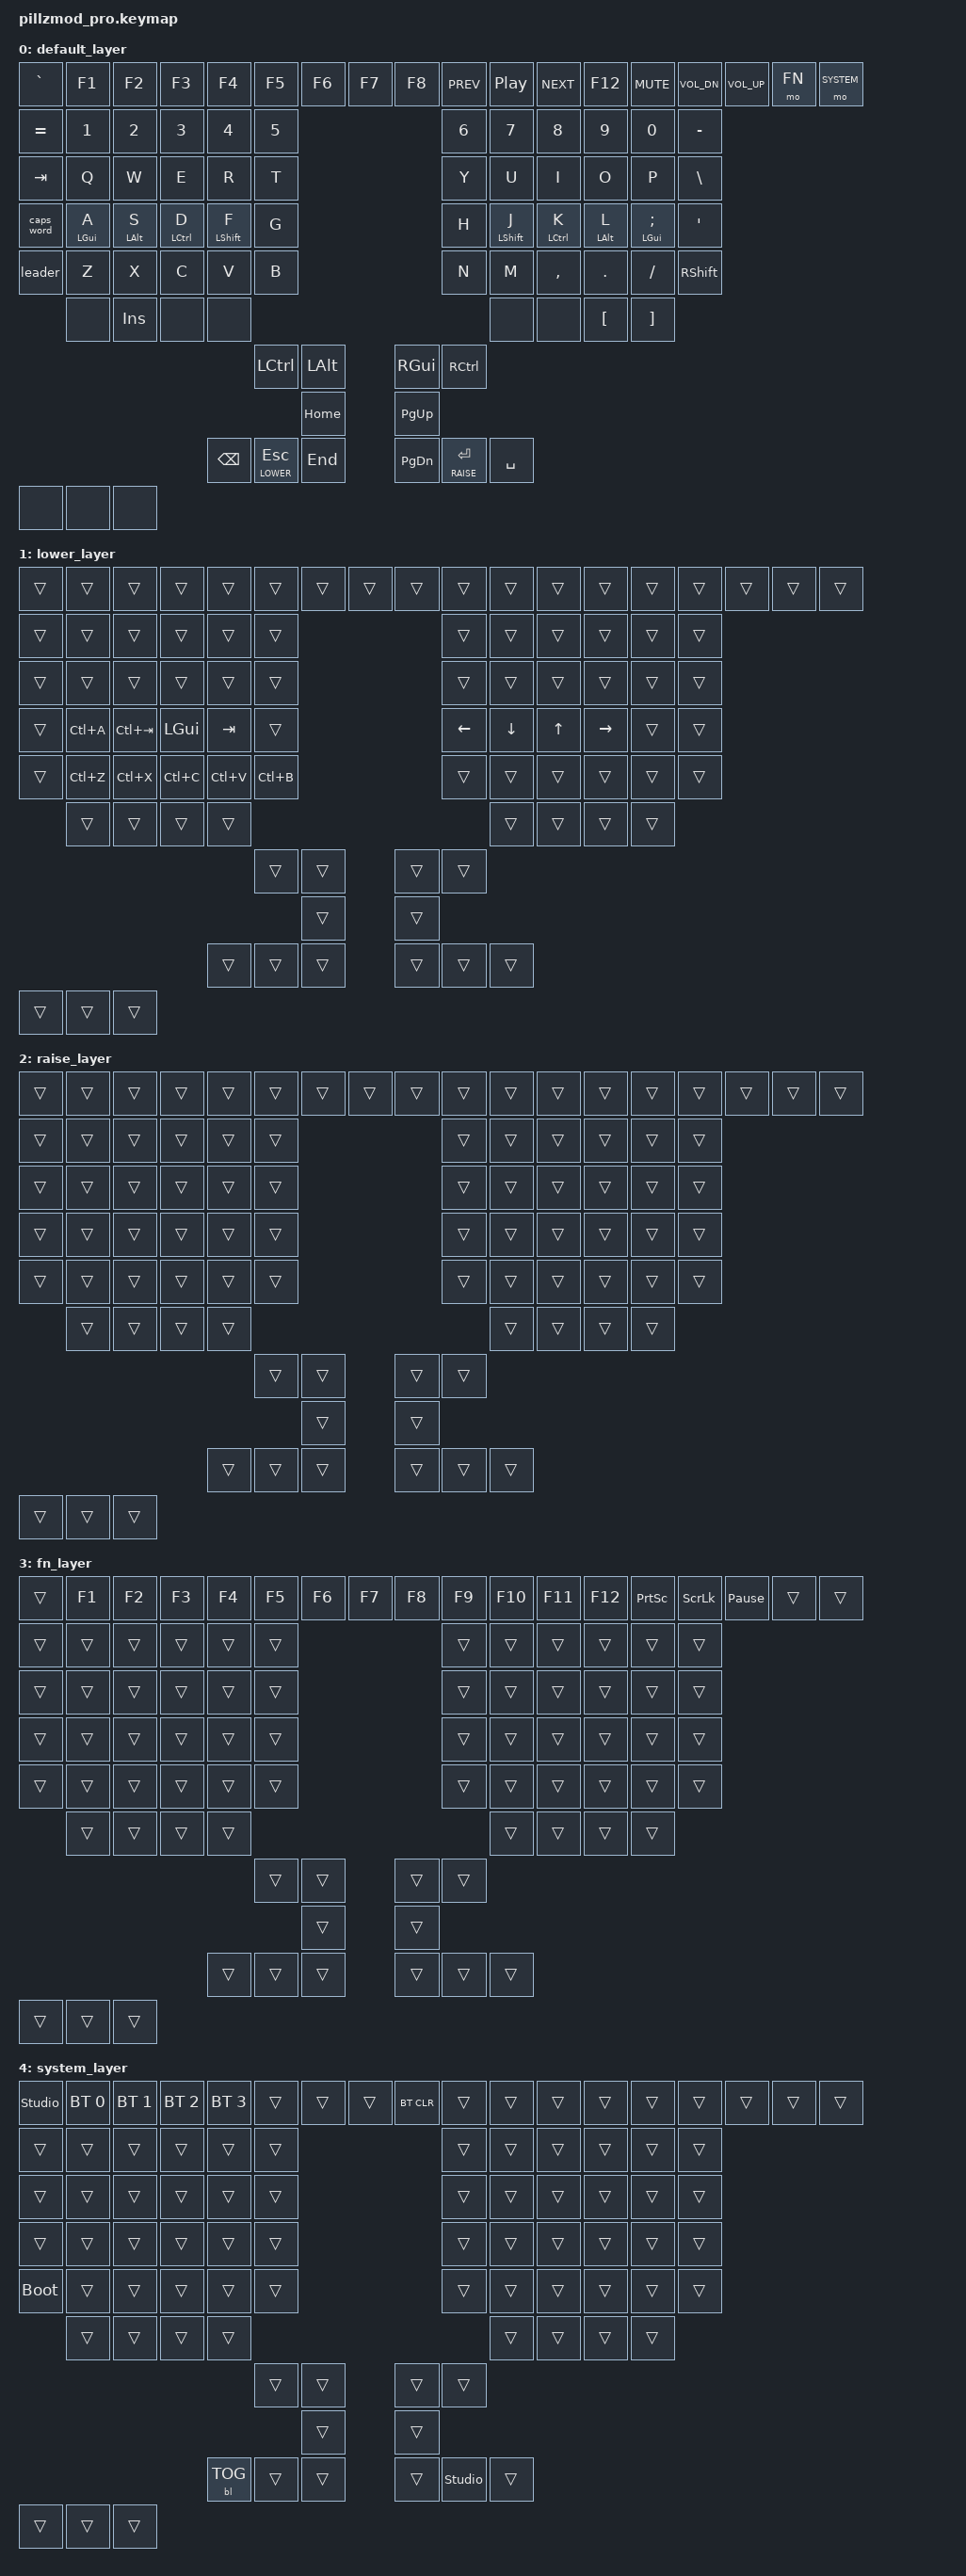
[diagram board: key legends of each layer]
/*
 * Copyright (c) 2020 The ZMK Contributors
 * 
 * SPDX-License-Identifier: MIT
 * 
 * ZMK keymap for Kinesis Advantage keyboards using Pillz Mod + Nice!Nano
 * Compatible with KLCM (Keyboard Layout Config Mapper)
 * 
 * This file serves as the KLCM configuration template. The actual ZMK shield 
 * keymap is located in boards/shields/pillzmod-nicenano/pillzmod-nicenano.keymap
 * 
 * Repository: https://github.com/masters3d/zmk-config-pillzmod-nicenano
 */

#include <behaviors.dtsi>
#include <dt-bindings/zmk/keys.h>
#include <dt-bindings/zmk/backlight.h>
#include <dt-bindings/zmk/bt.h>
#include <dt-bindings/zmk/outputs.h>


/********************/
/*     includes     */
/********************/
#include "zmk-helpers/helper.h"

// Define leader behavior first
/ {
    behaviors {
        leader: leader {
            compatible = "zmk,behavior-leader-key";
            #binding-cells = <0>;
        };
    };
};

/********************/
/*      Layers      */
/********************/
#define DEFAULT 0
#define LOWER   1
#define RAISE   2
#define FN      3
#define SYSTEM  4

/********************/
/* custom behaviors */
/********************/
// homerow mods
ZMK_BEHAVIOR(hrm, hold_tap,
    flavor = "balanced";
    tapping-term-ms = <280>;
    quick-tap-ms = <125>;
    global-quick-tap;
    bindings = <&kp>, <&kp>;
)

// Combo

// Leader
ZMK_LEADER_SEQUENCE(ldr_q, &kp N2, Q)

/********************/
/*  custom Keymaps  */
/********************/

    // | GRAVE | F1 | F2 | F3 | F4 | F5 | F6 | F7 | F8 |      | F9 | F10 | F11 | F12 | PSCRN| SLCK | PAUSE| Layer| SYS  |
    // |   =   |  1   |  2   |  3   |  4   |  5   |                |  6   |  7   |  8   |  9   |  0   |  -   |
    // |  TAB  |  Q   |  W   |  E   |  R   |  T   |                |  Y   |  U   |  I   |  O   |  P   |  \   |
    // | CAPSW |  A   |  S   |  D   |  F   |  G   |                |  H   |  J   |  K   |  L   |  ;   |  '   |
    // | LEADER|  Z   |  X   |  C   |  V   |  B   |                |  N   |  M   |  ,   |  .   |  /   | SHIFT|
    //         |  `   | INS  | LEFT |RIGHT |                              |  UP  | DOWN |  [   |  ]   |
    //                                     | CTRL | ALT  |  | GUI  | CTRL |
    //                                            | HOME |  | PGUP |
    //                              | BSPC | DEL  | END  |  | PGDN | ENT  | SPC  |

ZMK_LAYER(default_layer,
    &kp GRAVE    &kp F1   &kp F2  &kp F3  &kp F4  &kp F5  &kp F6  &kp F7  &kp F8                    &kp C_PREV   &kp C_PLAY_PAUSE &kp C_NEXT &kp F12 &kp C_MUTE   &kp C_VOL_DN    &kp C_VOL_UP &mo FN   &mo SYSTEM
    &kp EQUAL   &kp N1       &kp N2      &kp N3        &kp N4            &kp N5                     &kp N6    &kp N7         &kp N8          &kp N9      &kp N0          &kp MINUS
    &kp TAB     &kp Q        &kp W       &kp E         &kp R             &kp T                      &kp Y     &kp U          &kp I           &kp O       &kp P           &kp BSLH
    &caps_word  &hrm LGUI A  &hrm LALT S &hrm LCTRL D  &hrm LEFT_SHIFT F &kp G                      &kp H     &hrm LSHFT J   &hrm LCTRL K    &hrm LALT L &hrm LGUI SEMI  &kp SQT
    &leader       &kp Z        &kp X       &kp C         &kp V             &kp B                      &kp N     &kp M          &kp COMMA       &kp DOT     &kp SLASH       &kp RSHFT
                &none        &kp INSERT  &none         &none                                                  &none          &none           &kp LBKT    &kp RBKT
                                                            &kp LCTRL       &kp LALT         &kp RGUI   &kp RCTRL
                                                                            &kp HOME         &kp PG_UP
                                                &kp BSPC    &lt LOWER ESC   &kp END          &kp PG_DN  &lt RAISE ENTER   &kp SPACE
    &none  &none  &none
)

ZMK_LAYER(lower_layer,
    &trans  &trans      &trans      &trans      &trans      &trans  &trans  &trans  &trans      &trans      &trans      &trans  &trans      &trans  &trans  &trans  &trans  &trans
    &trans  &trans      &trans      &trans      &trans      &trans                              &trans      &trans      &trans  &trans      &trans  &trans
    &trans  &trans      &trans      &trans      &trans      &trans                              &trans      &trans      &trans  &trans      &trans  &trans
    &trans  &kp LC(A)   &kp LC(TAB) &kp LGUI    &kp TAB     &trans                              &kp LEFT    &kp DOWN    &kp UP  &kp RIGHT   &trans  &trans
    &trans  &kp LC(Z)   &kp LC(X)   &kp LC(C)   &kp LC(V)   &kp LC(B)                           &trans      &trans      &trans  &trans      &trans  &trans
            &trans      &trans      &trans      &trans                                                      &trans      &trans  &trans      &trans
                                                            &trans  &trans              &trans  &trans
                                                                    &trans              &trans
                                                    &trans  &trans  &trans              &trans  &trans  &trans 
    &trans  &trans  &trans
)
ZMK_LAYER(raise_layer,
    &trans  &trans  &trans  &trans  &trans  &trans  &trans  &trans  &trans      &trans  &trans  &trans  &trans  &trans  &trans  &trans  &trans  &trans
    &trans  &trans  &trans  &trans  &trans  &trans                              &trans  &trans  &trans  &trans  &trans  &trans
    &trans  &trans  &trans  &trans  &trans  &trans                              &trans  &trans  &trans  &trans  &trans  &trans
    &trans  &trans  &trans  &trans  &trans  &trans                              &trans  &trans  &trans  &trans  &trans  &trans
    &trans  &trans  &trans  &trans  &trans  &trans                              &trans  &trans  &trans  &trans  &trans  &trans
            &trans  &trans  &trans  &trans                                              &trans  &trans  &trans  &trans
                                                  &trans  &trans        &trans  &trans
                                                          &trans        &trans
                                          &trans  &trans  &trans        &trans  &trans  &trans 
    &trans  &trans  &trans
)
ZMK_LAYER(fn_layer,
    &trans  &kp F1   &kp F2  &kp F3  &kp F4  &kp F5  &kp F6  &kp F7  &kp F8     &kp F9   &kp F10 &kp F11 &kp F12  &kp PSCRN   &kp SLCK    &kp PAUSE_BREAK &trans   &trans
    &trans  &trans  &trans  &trans  &trans  &trans                              &trans  &trans  &trans  &trans  &trans  &trans
    &trans  &trans  &trans  &trans  &trans  &trans                              &trans  &trans  &trans  &trans  &trans  &trans
    &trans  &trans  &trans  &trans  &trans  &trans                              &trans  &trans  &trans  &trans  &trans  &trans
    &trans  &trans  &trans  &trans  &trans  &trans                              &trans  &trans  &trans  &trans  &trans  &trans
            &trans  &trans  &trans  &trans                                              &trans  &trans  &trans  &trans
                                                  &trans  &trans        &trans  &trans
                                                          &trans        &trans
                                          &trans  &trans  &trans        &trans  &trans  &trans 
    &trans  &trans  &trans
)
ZMK_LAYER(system_layer,
    &studio_unlock  &bt BT_SEL 0  &bt BT_SEL 1  &bt BT_SEL 2  &bt BT_SEL 3  &trans  &trans  &trans  &bt BT_CLR       &trans  &trans  &trans  &trans  &trans  &trans  &trans  &trans  &trans
    &trans  &trans  &trans  &trans  &trans  &trans                                                                   &trans  &trans  &trans  &trans  &trans  &trans
    &trans  &trans  &trans  &trans  &trans  &trans                                                                   &trans  &trans  &trans  &trans  &trans  &trans
    &trans  &trans  &trans  &trans  &trans  &trans                                                                   &trans  &trans  &trans  &trans  &trans  &trans
    &bootloader  &trans  &trans  &trans  &trans  &trans                                                              &trans  &trans  &trans  &trans  &trans  &trans
            &trans  &trans  &trans  &trans                                                                                   &trans  &trans  &trans  &trans
                                                  &trans  &trans                                        &trans  &trans
                                                          &trans                                        &trans
                                      &bl BL_TOG  &trans  &trans                                        &trans  &studio_unlock  &trans
    &trans  &trans  &trans
)

/****************************/
/*  Tri State Layer Switch  */
/****************************/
